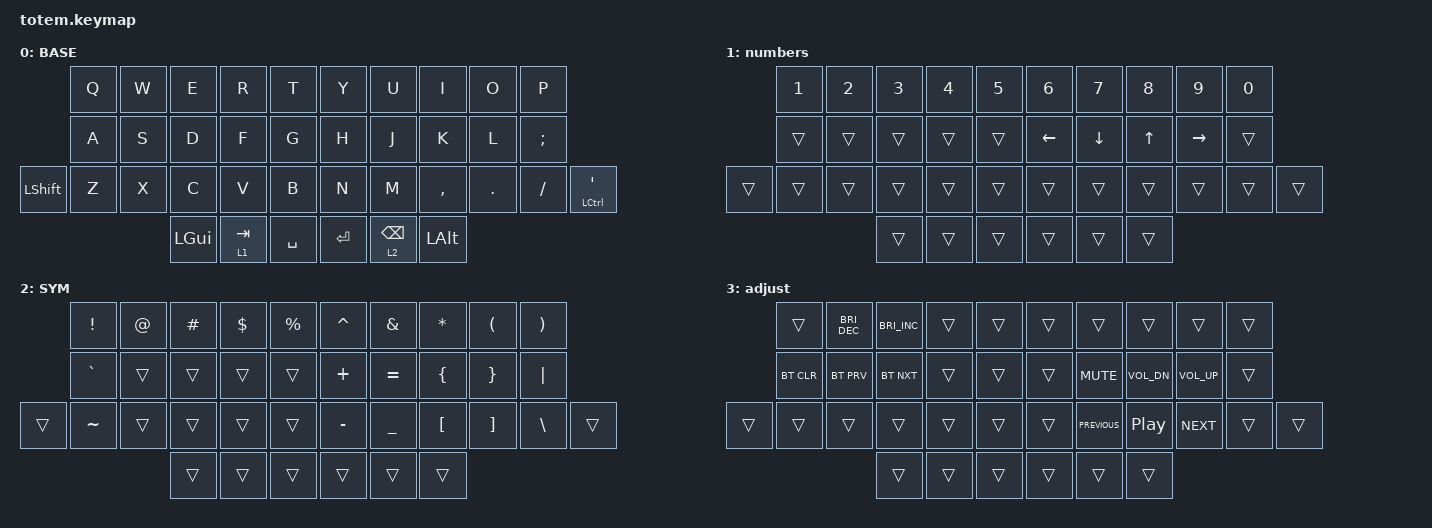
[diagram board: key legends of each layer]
//
//                                                        ▀▀▀▀▀     ▀▀▀▀▀          ▀▀█▀▀
//                                                        ▄▀▀▀▄  ▄  ▄▀▀▀▄  ▄  ▄▀▀▀▄  █  ▄▀▀▀▄
//                                                        █   █  █  █   █  █  █   █  █  █   █
//                                                         ▀▀▀   █   ▀▀▀   █   ▀▀▀   ▀   ▀▀▀
//                                                               █      ▄▄▄█▄▄▄    █   █  
//                                                               ▀      █  █  █     █▄█
//                                                             ▀▀▀▀▀    █  █  █      ▀
//                                                                      ▀  ▀  ▀
//
// ▄▄▄▄▄▄▄▄▄▄▄▄▄▄▄▄▄▄▄▄▄▄▄▄▄▄▄▄▄▄▄▄▄▄▄▄▄▄▄▄▄▄▄▄▄▄▄▄▄▄▄▄▄▄▄▄▄▄▄▄▄▄▄▄▄▄▄▄▄▄▄▄▄▄▄▄▄▄▄▄▄▄▄▄▄▄▄▄▄▄▄▄▄▄▄▄▄▄▄▄▄▄▄▄▄▄▄▄▄▄▄▄▄▄▄▄▄▄▄▄▄▄▄▄▄▄▄▄▄▄▄▄▄▄▄▄▄▄▄▄▄▄▄▄▄▄▄▄▄

#include <behaviors.dtsi>
#include <dt-bindings/zmk/bt.h>
#include <dt-bindings/zmk/keys.h>

#define BASE 0
#define NAV  1
#define SYM  2
#define ADJ  3
#define TVP1 4
#define TVP2 5

&mt {
    quick-tap-ms = <100>;
    global-quick-tap;
    flavor = "tap-preferred";
    tapping-term-ms = <170>;
};

/ {
    combos {
        compatible = "zmk,combos";

        combo_esc {
            timeout-ms = <50>;
            key-positions = <0 1>;
            bindings = <&kp ESC>;
        };

        combo_tvp {
            timeout-ms = <100>;
            key-positions = <11 12 13>;
            bindings = <&tog 0>;
        };

        combo_tab {
            bindings = <&kp TAB>;
            key-positions = <10 11>;
        };
    };

    macros {
        gif: gif {
            label = "giphy";
            compatible = "zmk,behavior-macro";
            #binding-cells = <0>;
            bindings =
                <&macro_press>,
                <&kp LSHFT>,
                <&macro_tap>,
                <&kp N2>,
                <&macro_release>,
                <&kp LSHFT>,
                <&macro_tap>,
                <&kp G &kp I &kp F>;
        };
    };

    keymap {
        compatible = "zmk,keymap";

        // ▄▄▄▄▄▄▄▄▄▄▄▄▄▄▄▄▄▄▄▄▄▄▄▄▄▄▄▄▄▄▄▄▄▄▄▄▄▄▄▄▄▄▄▄▄▄▄▄▄▄▄▄▄▄▄▄▄▄▄▄▄▄▄▄▄▄▄▄▄▄▄▄▄▄▄▄▄▄▄▄▄▄▄▄▄▄▄▄▄▄▄▄▄▄▄▄▄▄▄▄▄▄▄▄▄▄▄▄▄▄▄▄▄▄▄▄▄▄▄▄▄▄▄▄▄▄▄▄▄▄▄▄▄▄▄▄▄▄▄▄▄▄▄▄▄▄▄▄▄

        base_layer {
            // ┏━━━━━━━━━━━━━━━━━━━━━━━━━━━━━━━━━━━━━━━┓

            label = "BASE";

            // ┗━━━━━━━━━━━━━━━━━━━━━━━━━━━━━━━━━━━━━━━┛
            //             ┏━━━━━━━━━━━┳━━━━━━━━━━━┳━━━━━━━━━━━┳━━━━━━━━━━━┳━━━━━━━━━━━┓   ┏━━━━━━━━━━━┳━━━━━━━━━━━┳━━━━━━━━━━━┳━━━━━━━━━━━┳━━━━━━━━━━━┓
            //             ┃     Q     ┃     W     ┃     F     ┃     P     ┃     G     ┃   ┃     J     ┃     L     ┃     U     ┃     Y     ┃     ;     ┃
            //             ┣━━━━━━━━━━━╋━━━━━━━━━━━╋━━━━━━━━━━━╋━━━━━━━━━━━╋━━━━━━━━━━━┫   ┣━━━━━━━━━━━╋━━━━━━━━━━━╋━━━━━━━━━━━╋━━━━━━━━━━━╋━━━━━━━━━━━┫
            //             ┃     A     ┃     R     ┃     S     ┃     T     ┃     D     ┃   ┃     H     ┃     N     ┃     E     ┃     I     ┃     O     ┃
            // ┏━━━━━━━━━━━╋━━━━━━━━━━━╋━━━━━━━━━━━╋━━━━━━━━━━━╋━━━━━━━━━━━╋━━━━━━━━━━━┫   ┣━━━━━━━━━━━╋━━━━━━━━━━━╋━━━━━━━━━━━╋━━━━━━━━━━━╋━━━━━━━━━━━╋━━━━━━━━━━━┓
            // ┃     Q     ┃     Z     ┃     X     ┃     C     ┃     V     ┃     B     ┃   ┃     K     ┃     M     ┃     ,     ┃     .     ┃     /     ┃     \     ┃
            // ┗━━━━━━━━━━━┻━━━━━━━━━━━┻━━━━━━━━━━━╋━━━━━━━━━━━╋━━━━━━━━━━━╋━━━━━━━━━━━┫   ┣━━━━━━━━━━━╋━━━━━━━━━━━╋━━━━━━━━━━━╋━━━━━━━━━━━┻━━━━━━━━━━━┻━━━━━━━━━━━┛
            //                                     ┃    DEL    ┃    TAB    ┃    SPC    ┃   ┃   ENTER   ┃           ┃   BSPC    ┃
            //                                     ┗━━━━━━━━━━━┻━━━━━━━━━━━┻━━━━━━━━━━━┛   ┗━━━━━━━━━━━┻━━━━━━━━━━━┻━━━━━━━━━━━┛

            bindings = <
           &kp Q  &kp W  &kp E     &kp R      &kp T        &kp Y    &kp U            &kp I      &kp O    &kp P
           &kp A  &kp S  &kp D     &kp F      &kp G        &kp H    &kp J            &kp K      &kp L    &kp SEMI
&kp LSHFT  &kp Z  &kp X  &kp C     &kp V      &kp B        &kp N    &kp M            &kp COMMA  &kp DOT  &kp FSLH  &mt LCTRL SQT
                         &kp LGUI  &lt 1 TAB  &kp SPACE    &kp RET  &lt 2 BACKSPACE  &kp LALT
            >;
        };

        numbers {
            bindings = <
        &kp NUMBER_1  &kp NUMBER_2  &kp NUMBER_3  &kp NUMBER_4  &kp N5    &kp N6          &kp N7          &kp N8        &kp N9           &kp N0
        &trans        &trans        &trans        &trans        &trans    &kp LEFT_ARROW  &kp DOWN_ARROW  &kp UP_ARROW  &kp RIGHT_ARROW  &trans
&trans  &trans        &trans        &trans        &trans        &trans    &trans          &trans          &trans        &trans           &trans  &trans
                                    &trans        &trans        &trans    &trans          &trans          &trans
            >;
        };

        symbols {
            // ┏━━━━━━━━━━━━━━━━━━━━━━━━━━━━━━━━━━━━━━━┓

            label = "SYM";

            // ┗━━━━━━━━━━━━━━━━━━━━━━━━━━━━━━━━━━━━━━━┛
            //             ┏━━━━━━━━━━━┳━━━━━━━━━━━┳━━━━━━━━━━━┳━━━━━━━━━━━┳━━━━━━━━━━━┓   ┏━━━━━━━━━━━┳━━━━━━━━━━━┳━━━━━━━━━━━┳━━━━━━━━━━━┳━━━━━━━━━━━┓
            //             ┃     !     ┃     @     ┃     #     ┃     $     ┃     %     ┃   ┃     ˆ     ┃     &     ┃     Ü     ┃     '     ┃     "     ┃
            //             ┣━━━━━━━━━━━╋━━━━━━━━━━━╋━━━━━━━━━━━╋━━━━━━━━━━━╋━━━━━━━━━━━┫   ┣━━━━━━━━━━━╋━━━━━━━━━━━╋━━━━━━━━━━━╋━━━━━━━━━━━╋━━━━━━━━━━━┫
            //             ┃     Ä     ┃           ┃    SZ     ┃           ┃           ┃   ┃   MUTE    ┃   YEN     ┃   EURO    ┃  POUND    ┃     Ö     ┃
            // ┏━━━━━━━━━━━╋━━━━━━━━━━━╋━━━━━━━━━━━╋━━━━━━━━━━━╋━━━━━━━━━━━╋━━━━━━━━━━━┫   ┣━━━━━━━━━━━╋━━━━━━━━━━━╋━━━━━━━━━━━╋━━━━━━━━━━━╋━━━━━━━━━━━╋━━━━━━━━━━━┓
            // ┃           ┃  EMAIL1   ┃  EMAIL2   ┃           ┃           ┃           ┃   ┃   VOL-    ┃   VOL+    ┃   LAST    ┃   NEXT    ┃     \     ┃           ┃
            // ┗━━━━━━━━━━━┻━━━━━━━━━━━┻━━━━━━━━━━━╋━━━━━━━━━━━╋━━━━━━━━━━━╋━━━━━━━━━━━┫   ┣━━━━━━━━━━━╋━━━━━━━━━━━╋━━━━━━━━━━━╋━━━━━━━━━━━┻━━━━━━━━━━━┻━━━━━━━━━━━┛
            //                                     ┃           ┃    GIF    ┃    ADJ    ┃   ┃           ┃           ┃           ┃
            //                                     ┗━━━━━━━━━━━┻━━━━━━━━━━━┻━━━━━━━━━━━┛   ┗━━━━━━━━━━━┻━━━━━━━━━━━┻━━━━━━━━━━━┛

            bindings = <
        &kp EXCL   &kp AT  &kp HASH  &kp DLLR  &kp PRCNT    &kp CARET  &kp AMPS        &kp ASTERISK      &kp LEFT_PARENTHESIS  &kp RIGHT_PARENTHESIS
        &kp GRAVE  &trans  &trans    &trans    &trans       &kp PLUS   &kp EQUAL       &kp LEFT_BRACE    &kp RIGHT_BRACE       &kp PIPE
&trans  &kp TILDE  &trans  &trans    &trans    &trans       &kp MINUS  &kp UNDERSCORE  &kp LEFT_BRACKET  &kp RIGHT_BRACKET     &kp BACKSLASH          &trans
                           &trans    &trans    &trans       &trans     &trans          &trans
            >;
        };

        adjust {
            bindings = <
        &trans      &kp C_BRIGHTNESS_DEC  &kp C_BRIGHTNESS_INC  &trans  &trans    &trans  &trans          &trans            &trans        &trans
        &bt BT_CLR  &bt BT_PRV            &bt BT_NXT            &trans  &trans    &trans  &kp C_MUTE      &kp C_VOL_DN      &kp C_VOL_UP  &trans
&trans  &trans      &trans                &trans                &trans  &trans    &trans  &kp C_PREVIOUS  &kp C_PLAY_PAUSE  &kp C_NEXT    &trans  &trans
                                          &trans                &trans  &trans    &trans  &trans          &trans
            >;
        };
    };

    conditional_layers {
        compatible = "zmk,conditional-layers";

        double {
            if-layers = <2 1>;
            then-layer = <3>;
        };
    };
};
